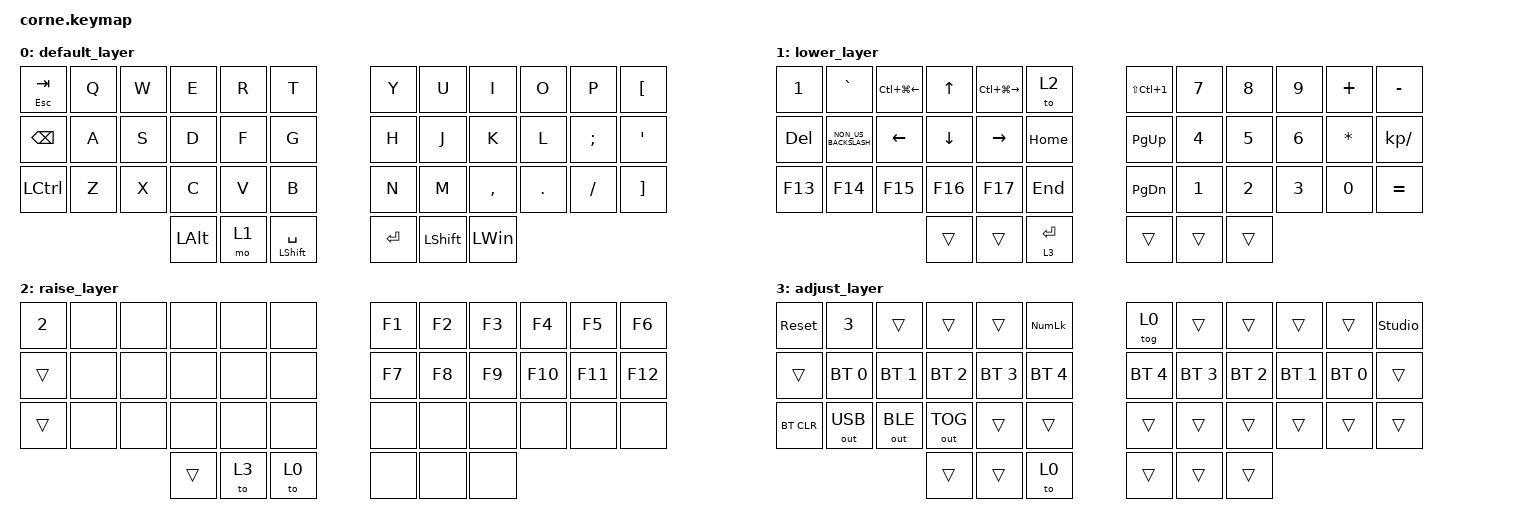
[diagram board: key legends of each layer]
/*
 * Copyright (c) 2020 The ZMK Contributors
 *
 * SPDX-License-Identifier: MIT
 */

#include <behaviors.dtsi>
#include <dt-bindings/zmk/bt.h>
#include <dt-bindings/zmk/keys.h>
#include <dt-bindings/zmk/outputs.h>

#define DEF 0
#define GAME 1
#define LWR 2
#define RSE 3
#define ADJ 4

&lt { quick_tap_ms = <200>; };

&mt { quick_tap_ms = <200>; };

/ {
    keymap {
        compatible = "zmk,keymap";

        default_layer {
            // .-------------------------------------------------------.       .-----------------------------------------------------------.
            // |  ESC  |    Q    |    W   |   E    |    R    |    T    |       |   Y   |    U    |    I    |    O    |     P    |     [    |
            // |-------+---------+--------+--------+---------+---------|       |-------+---------+---------+---------+----------+----------|
            // |  SHFT |    A    |    S   |   D    |    F    |    G    |       |   H   |    J    |    K    |    L    |     ;    |     '    |
            // |-------+---------+--------+--------+---------+---------|       |-------+---------+---------+---------+----------+----------|
            // |  CTRL |    Z    |    X   |   C    |    V    |    B    |       |   N   |    M    |    ,    |    .    |     /    |     ]    |
            // '--------------------------+--------+---------+---------+       |-------+---------+---------+-------------------------------'
            //                            |  ALT   |   LWR   | RSE/SPC |       |  RET  |   BKSP  |   GUI   |
            //                            '--------+---------+---------'       '-------+---------+---------'

            bindings = <
&mt ESC TAB    &kp Q  &kp W  &kp E     &kp R  &kp T                   &kp Y      &kp U           &kp I      &kp O    &kp P     &kp LEFT_BRACKET
&kp BACKSPACE  &kp A  &kp S  &kp D     &kp F  &kp G                   &kp H      &kp J           &kp K      &kp L    &kp SEMI  &kp SINGLE_QUOTE
&kp LCTRL      &kp Z  &kp X  &kp C     &kp V  &kp B                   &kp N      &kp M           &kp COMMA  &kp DOT  &kp FSLH  &kp RBKT
                             &kp LALT  &mo 1  &mt LEFT_SHIFT SPACE    &kp ENTER  &kp LEFT_SHIFT  &kp LWIN
            >;
        };

        lower_layer {
            // .----------------------------------------------------------.       .-----------------------------------------------------.
            // |    TAB    |   1    |   2    |   3    |    4    |    5     |       |    ^   |    &   |    *    |    (   |    )   |  DEL  |
            // |-----------+--------+--------+--------+---------+----------|       |--------+--------+---------+--------+--------+-------|
            // |    SHFT   |   F4   |  LEFT  |   UP   |  RIGHT  |   HOME   |       | vol up |  mute  |  vol dn |        |        |   ~   |
            // |-----------+--------+--------+--------+---------+----------|       |--------+--------+---------+--------+--------+-------|
            // |    CTRL   | CTRL+N |   PU   |  DOWN  |    PD   |   END    |       |  prev  |  play  |   next  |        |        |   \   |
            // '-----------------------------+--------+---------+----------+       |--------+--------+---------+-------------------------'
            //                               |  ALT   |         |ADJ_ENTER |       |        |        |         |
            //                               '--------+---------+----------'       '--------+--------+---------'

            bindings = <
&kp NUMBER_1  &kp GRAVE             &kp LC(LG(LEFT_ARROW))  &kp UP    &kp LC(LG(RIGHT_ARROW))  &to 2          &kp LS(LC(NUMBER_1))  &kp N7        &kp N8        &kp N9        &kp PLUS      &kp MINUS
&kp DEL       &kp NON_US_BACKSLASH  &kp LEFT                &kp DOWN  &kp RIGHT                &kp HOME       &kp PAGE_UP           &kp NUMBER_4  &kp N5        &kp NUMBER_6  &kp ASTERISK  &kp KP_SLASH
&kp F13       &kp F14               &kp F15                 &kp F16   &kp F17                  &kp END        &kp PAGE_DOWN         &kp NUMBER_1  &kp NUMBER_2  &kp NUMBER_3  &kp N0        &kp EQUAL
                                                            &trans    &trans                   &lt 3 ENTER    &trans                &trans        &trans
            >;
        };

        raise_layer {
            // .------------------------------------------------------.       .-----------------------------------------------------.
            // |   F2    |    *   |    1   |    2   |    3   |    -   |       |        |   F1   |   F2   |   F3   |   F4   |   DEL  |
            // |---------+--------+--------+--------+--------+--------|       |--------+--------+--------+--------+--------+--------|
            // |   SHFT  |    /   |    4   |    5   |    6   |    +   |       |        |   F5   |   F6   |   F7   |   F8   |    ~   |
            // |---------+--------+--------+--------+--------+--------|       |--------+--------+--------+--------+--------+--------|
            // |   CTRL  |    =   |    7   |    8   |    9   |    .   |       |        |   F9   |   F10  |   F11  |   F12  |    \   |
            // '---------------------------+--------+--------+--------+       |-------+---------+--------+--------------------------'
            //                             |    0   |   ADJ  |        |       |        |        |        |
            //                             '--------+--------+--------'       '--------+--------+--------'

            bindings = <
&kp NUMBER_2  &none  &none  &none   &none  &none    &kp F1  &kp F2  &kp F3  &kp F4   &kp F5   &kp F6
&trans        &none  &none  &none   &none  &none    &kp F7  &kp F8  &kp F9  &kp F10  &kp F11  &kp F12
&trans        &none  &none  &none   &none  &none    &none   &none   &none   &none    &none    &none
                            &trans  &to 3  &to 0    &none   &none   &none
            >;
        };

        adjust_layer {
            // .--------------------------------------------------------.       .---------------------------------------------------------.
            // |  reset  |        |        |        |         |  KP_NUM |       |  GAME  |        |        |        |        | zmk-studio |
            // |---------+--------+--------+--------+---------+---------|       |--------+--------+--------+--------+--------+------------|
            // |         |  BT1   |  BT2   |  BT3   |  BT4    |  BT5    |       |  BT5   |  BT4   |  BT3   |  BT2   |  BT1   |            |
            // |---------+--------+--------+--------+---------+---------|       |--------+--------+--------+--------+--------+------------|
            // |  BTCLR  |        |        |        |         |         |       |        |        |        |        |        |            |
            // '---------------------------+--------+---------+---------+       |--------+--------+--------+--------+--------+------------|
            //                             |        |         |         |       |        |        |        |
            //                             '--------+---------+---------'       '--------+--------+--------'

            bindings = <
&sys_reset  &kp NUMBER_3  &trans        &trans        &trans        &kp KP_NUM      &tog 0        &trans        &trans        &trans        &trans        &studio_unlock
&trans      &bt BT_SEL 0  &bt BT_SEL 1  &bt BT_SEL 2  &bt BT_SEL 3  &bt BT_SEL 4    &bt BT_SEL 4  &bt BT_SEL 3  &bt BT_SEL 2  &bt BT_SEL 1  &bt BT_SEL 0  &trans
&bt BT_CLR  &out OUT_USB  &out OUT_BLE  &out OUT_TOG  &trans        &trans          &trans        &trans        &trans        &trans        &trans        &trans
                                        &trans        &trans        &to 0           &trans        &trans        &trans
            >;
        };
    };
};
